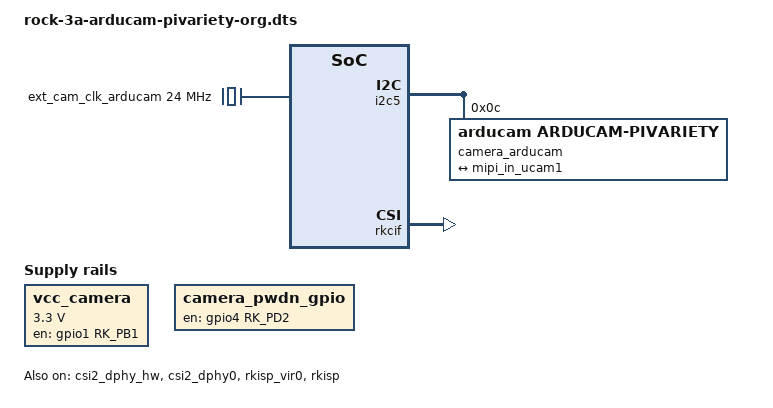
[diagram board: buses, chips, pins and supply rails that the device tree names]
/dts-v1/;
/plugin/;

#include <dt-bindings/gpio/gpio.h>
#include <dt-bindings/pinctrl/rockchip.h>

/ {
	metadata {
		title = "Enable Arducam Pivariety ORG";
		compatible = "radxa,rock-3a", "radxa,rock-3b";
		category = "camera";
		exclusive = "csi2_dphy0";
		description = "Enable Arducam Pivariety ORG";
	};
};

&{/} {


	vcc_camera: vcc-camera {
		status = "okay";
		compatible = "regulator-fixed";
		regulator-name = "vcc_camera";
		gpio = <&gpio1 RK_PB1 GPIO_ACTIVE_HIGH>;
		enable-active-high;
		regulator-min-microvolt = <3300000>;
		regulator-max-microvolt = <3300000>;
		regulator-always-on;
		regulator-boot-on;
	};

	camera_pwdn_gpio: camera-pwdn-gpio {
		status = "okay";
		compatible = "regulator-fixed";
		regulator-name = "camera_pwdn_gpio";
		regulator-always-on;
		regulator-boot-on;
		enable-active-high;
		gpio = <&gpio4 RK_PD2 GPIO_ACTIVE_HIGH>;
	};
		ext_cam_clk_arducam: ext-cam-clk-arducam {
		status = "okay";
		compatible = "fixed-clock";
		clock-frequency = <24000000>;
		clock-output-names = "ext_cam_clk_arducam";
		#clock-cells = <0>;
	};
};

&i2c5 {
	status = "okay";
	pinctrl-names = "default";
	pinctrl-0 = <&i2c5m0_xfer>;
	#address-cells = <1>;
	#size-cells = <0>;

	camera_arducam: camera-arducam@0c {
		status = "okay";
		compatible = "arducam,arducam-pivariety";
		reg = <0x0c>;
		clocks = <&ext_cam_clk_arducam>;
		clock-names = "xclk";
		rockchip,camera-module-index = <0>;
		rockchip,camera-module-facing = "front";
		rockchip,camera-module-name = "arducam-camera";
		rockchip,camera-module-lens-name = "default";

		port {
			arducam_out: endpoint {
				remote-endpoint = <&mipi_in_ucam1>;
				data-lanes = <1 2>;
			};
		};
	};
};

&csi2_dphy_hw {
	status = "okay";
};

&csi2_dphy0 {
	status = "okay";

	ports {
		#address-cells = <1>;
		#size-cells = <0>;

		port@0 {
			reg = <0>;
			#address-cells = <1>;
			#size-cells = <0>;

			mipi_in_ucam1: endpoint@2 {
				reg = <2>;
				remote-endpoint = <&arducam_out>;
				data-lanes = <1 2>;
			};
		};

		port@1 {
			reg = <1>;
			#address-cells = <1>;
			#size-cells = <0>;

			dphy0_out: endpoint@1 {
				reg = <1>;
				remote-endpoint = <&isp0_in>;
			};
		};
	};
};

&rkisp_vir0 {
	status = "okay";

	port {
		#address-cells = <1>;
		#size-cells = <0>;

		isp0_in: endpoint@0 {
			reg = <0>;
			remote-endpoint = <&dphy0_out>;
		};
	};
};

&rkisp {
	status = "okay";
};

&rkisp_mmu {
	status = "okay";
};

&rkcif_mmu {
	status = "okay";
};

&rkcif {
	status = "okay";
};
